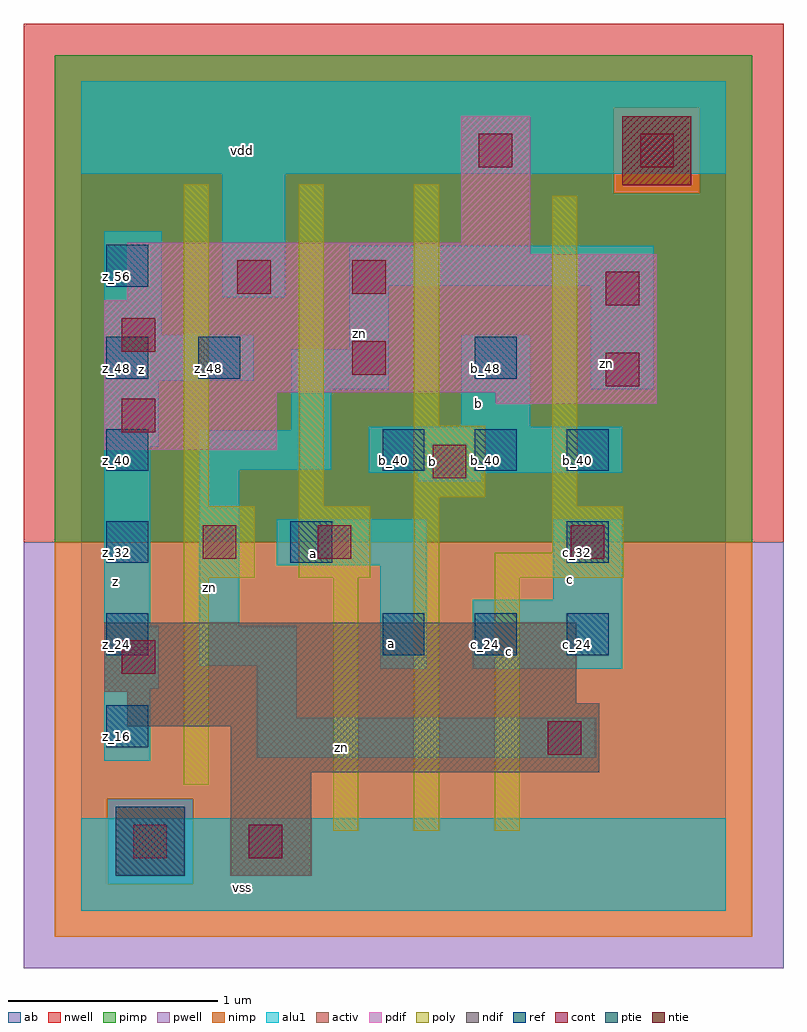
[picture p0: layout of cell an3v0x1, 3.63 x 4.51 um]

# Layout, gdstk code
import gdstk
lib = gdstk.Library(unit=1e-6, precision=2.5e-09)
def R(c, l, rs):  # rectangles x0, y0, x1, y1
    for r in rs: c.add(gdstk.rectangle(r[:2], r[2:], *l))
def A(c, l, x, y, w, h, nx, ny, dx, dy):  # array of equal rectangles
    R(c, l, [(x+i*dx, y+j*dy, x+i*dx+w, y+j*dy+h) for i in range(nx) for j in range(ny)])
ndif = (3, 0)
pdif = (4, 0)
ntie = (5, 0)
ptie = (6, 0)
ref = (24, 0)
cont = (25, 0)
pwell = (41, 0)
nwell = (42, 0)
activ = (43, 0)
pimp = (44, 0)
nimp = (45, 0)
poly = (46, 0)
alu1 = (49, 0)
ab = (63, 0)

an3v0x1 = lib.new_cell('an3v0x1')
R(an3v0x1, ndif, [(0.715,0.165,1.1,0.66), (0.715,0.66,2.475,0.88), (0.22,0.88,2.475,0.99), (0.22,0.99,2.365,1.045), (0.11,1.045,2.365,1.375)])
R(an3v0x1, pdif, [(0.11,2.2,0.935,2.475), (1.98,2.42,2.75,2.475), (0.11,2.475,2.75,2.915), (0.22,2.915,2.75,3.135), (0.22,3.135,2.145,3.19), (1.815,3.19,2.145,3.795)])
R(an3v0x1, ntie, [(2.585,3.465,2.915,3.795)])
R(an3v0x1, ptie, [(0.165,0.165,0.495,0.495)])
A(an3v0x1, ref, 0.12, 0.78, 0.2, 0.2, 1, 6, 0, 0.44)
A(an3v0x1, ref, 1.44, 1.22, 0.2, 0.2, 3, 2, 0.44, 0.88)
R(an3v0x1, ref, [(1,1.66,1.2,1.86), (2.32,1.66,2.52,1.86), (0.56,2.54,0.76,2.74), (1.88,2.54,2.08,2.74)])
R(an3v0x1, cont, [(0.25,0.25,0.41,0.41), (0.8,0.25,0.96,0.41), (2.23,0.745,2.39,0.905), (0.195,1.13,0.355,1.29), (0.58,1.68,0.74,1.84), (1.13,1.68,1.29,1.84), (2.34,1.68,2.5,1.84), (1.68,2.065,1.84,2.225), (0.195,2.285,0.355,2.445), (2.505,2.505,2.665,2.665), (1.295,2.56,1.455,2.72), (0.195,2.67,0.355,2.83), (2.505,2.89,2.665,3.05), (0.745,2.945,0.905,3.105), (1.295,2.945,1.455,3.105), (1.9,3.55,2.06,3.71), (2.67,3.55,2.83,3.71)])
R(an3v0x1, pwell, [(-0.275,-0.275,3.355,1.76)])
R(an3v0x1, nwell, [(-0.275,1.76,3.355,4.235)])
R(an3v0x1, activ, [(0.165,0.165,0.495,0.495), (0.715,0.165,1.1,0.66), (0.715,0.66,2.475,0.88), (0.22,0.88,2.475,0.99), (0.22,0.99,2.365,1.045), (0.11,1.045,2.365,1.375), (0.11,2.2,0.935,2.475), (1.98,2.42,2.75,2.475), (0.11,2.475,2.75,2.915), (0.22,2.915,2.75,3.135), (0.22,3.135,2.145,3.19), (1.815,3.19,2.145,3.795), (2.585,3.465,2.915,3.795)])
R(an3v0x1, pimp, [(0.125,0.125,0.535,0.535), (-0.125,1.76,3.205,3.425), (-0.125,3.425,2.545,3.835), (2.955,3.425,3.205,3.835), (-0.125,3.835,3.205,4.085)])
R(an3v0x1, nimp, [(-0.125,-0.125,3.205,0.125), (-0.125,0.125,0.125,0.535), (0.535,0.125,3.205,0.535), (-0.125,0.535,3.205,1.76), (2.545,3.425,2.955,3.835)])
R(an3v0x1, poly, [(1.205,0.38,1.325,1.59), (1.59,0.38,1.71,1.975), (1.975,0.38,2.095,1.59), (0.49,0.6,0.61,1.59), (0.49,1.59,0.83,1.93), (1.04,1.59,1.38,1.93), (1.975,1.59,2.59,1.71), (2.25,1.71,2.59,1.93), (0.49,1.93,0.61,3.47), (1.04,1.93,1.16,3.47), (2.25,1.93,2.37,3.415), (1.59,1.975,1.93,2.315), (1.59,2.315,1.71,3.47)])
R(an3v0x1, alu1, [(0,0,3.08,0.44), (0.11,0.715,0.33,1.06), (0.84,0.73,2.46,0.92), (0.84,0.92,1.03,1.17), (0.11,1.06,0.37,1.36), (1.43,1.155,1.65,1.65), (1.87,1.155,2.585,1.485), (0.565,1.17,1.03,1.36), (0.11,1.36,0.33,2.215), (0.565,1.36,0.755,2.105), (2.255,1.485,2.585,1.87), (0.935,1.65,1.65,1.87), (1.61,2.05,1.91,2.09), (1.375,2.09,2.585,2.31), (0.565,2.105,1.195,2.295), (0.11,2.215,0.37,2.53), (1.005,2.295,1.195,2.49), (1.815,2.31,2.145,2.75), (1.005,2.49,1.47,2.68), (2.435,2.49,2.735,2.985), (0.11,2.53,0.825,2.75), (1.28,2.68,1.47,2.985), (0.11,2.75,0.385,3.245), (0.675,2.93,0.975,3.52), (1.28,2.985,2.735,3.175), (0,3.52,3.08,3.96)])
R(an3v0x1, ab, [(0,0,3.08,3.96)])
an3v0x1.add(gdstk.Label('vss', (0.77,0.11), layer=49, texttype=0))
an3v0x1.add(gdstk.Label('zn', (1.245,0.7775), layer=49, texttype=0))
an3v0x1.add(gdstk.Label('c', (2.0475,1.2375), layer=49, texttype=0))
an3v0x1.add(gdstk.Label('c', (2.3375,1.58), layer=49, texttype=0))
an3v0x1.add(gdstk.Label('a', (1.485,1.2775), layer=49, texttype=0))
an3v0x1.add(gdstk.Label('a', (1.1125,1.705), layer=49, texttype=0))
an3v0x1.add(gdstk.Label('b', (1.6775,2.145), layer=49, texttype=0))
an3v0x1.add(gdstk.Label('zn', (0.6125,1.545), layer=49, texttype=0))
an3v0x1.add(gdstk.Label('z', (0.165,1.5725), layer=49, texttype=0))
an3v0x1.add(gdstk.Label('zn', (2.51,2.6125), layer=49, texttype=0))
an3v0x1.add(gdstk.Label('b', (1.8975,2.42), layer=49, texttype=0))
an3v0x1.add(gdstk.Label('zn', (1.3275,2.755), layer=49, texttype=0))
an3v0x1.add(gdstk.Label('z', (0.2875,2.585), layer=49, texttype=0))
an3v0x1.add(gdstk.Label('vdd', (0.77,3.63), layer=49, texttype=0))
an3v0x1.add(gdstk.Label('z_48', (0.61,2.59), layer=24, texttype=0))
an3v0x1.add(gdstk.Label('a_32', (1.05,1.71), layer=24, texttype=0))
an3v0x1.add(gdstk.Label('a_24', (1.49,1.27), layer=24, texttype=0))
an3v0x1.add(gdstk.Label('b_40', (1.49,2.15), layer=24, texttype=0))
an3v0x1.add(gdstk.Label('c_24', (1.93,1.27), layer=24, texttype=0))
an3v0x1.add(gdstk.Label('b_40', (1.93,2.15), layer=24, texttype=0))
an3v0x1.add(gdstk.Label('b_48', (1.93,2.59), layer=24, texttype=0))
an3v0x1.add(gdstk.Label('z_16', (0.17,0.83), layer=24, texttype=0))
an3v0x1.add(gdstk.Label('z_24', (0.17,1.27), layer=24, texttype=0))
an3v0x1.add(gdstk.Label('z_32', (0.17,1.71), layer=24, texttype=0))
an3v0x1.add(gdstk.Label('z_40', (0.17,2.15), layer=24, texttype=0))
an3v0x1.add(gdstk.Label('z_48', (0.17,2.59), layer=24, texttype=0))
an3v0x1.add(gdstk.Label('z_56', (0.17,3.03), layer=24, texttype=0))
an3v0x1.add(gdstk.Label('c_24', (2.37,1.27), layer=24, texttype=0))
an3v0x1.add(gdstk.Label('c_32', (2.37,1.71), layer=24, texttype=0))
an3v0x1.add(gdstk.Label('b_40', (2.37,2.15), layer=24, texttype=0))

lib.write_gds('an3v0x1.gds')
